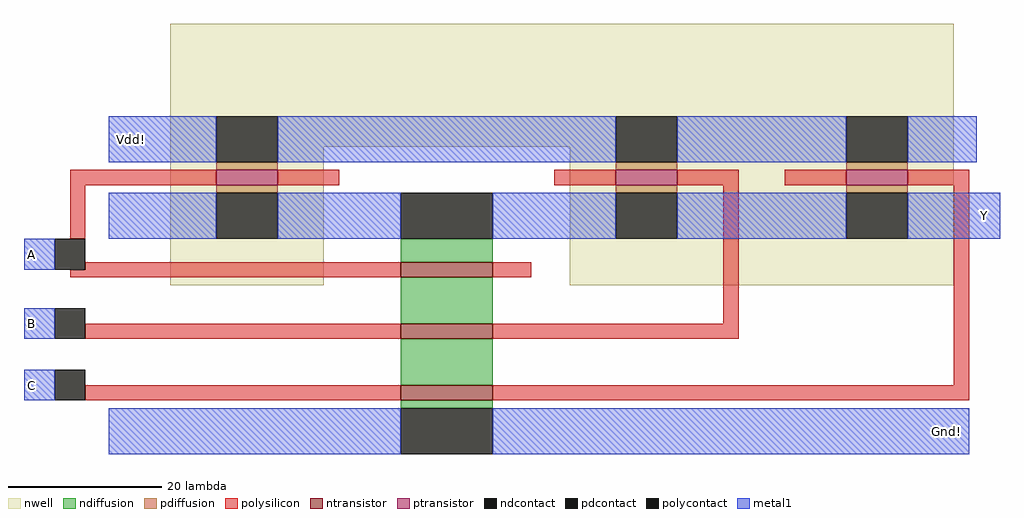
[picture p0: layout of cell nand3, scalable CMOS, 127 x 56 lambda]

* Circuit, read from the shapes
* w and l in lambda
.subckt nand3 A B C Gnd! Vdd! Y
M1 n1 C Gnd! VSUBS nfet w=12 l=2
M2 n2 B n1 VSUBS nfet w=12 l=2
M3 Y A n2 VSUBS nfet w=12 l=2
M4 Vdd! A Y n3 pfet w=8 l=2
M5 Vdd! B Y n3 pfet w=8 l=2
M6 Vdd! C Y n3 pfet w=8 l=2
.ends

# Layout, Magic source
magic
tech scmos
<< nwell >>
rect -62 18 40 34
rect -62 0 -42 18
rect -10 0 40 18
<< ntransistor >>
rect -32 1 -20 3
rect -32 -7 -20 -5
rect -32 -15 -20 -13
<< ptransistor >>
rect -56 13 -48 15
rect -4 13 4 15
rect 26 13 34 15
<< ndiffusion >>
rect -32 3 -20 6
rect -32 -5 -20 1
rect -32 -13 -20 -7
rect -32 -16 -20 -15
<< pdiffusion >>
rect -56 15 -48 16
rect -4 15 4 16
rect 26 15 34 16
rect -56 12 -48 13
rect -4 12 4 13
rect 26 12 34 13
<< ndcontact >>
rect -32 6 -20 12
rect -32 -22 -20 -16
<< pdcontact >>
rect -56 16 -48 22
rect -4 16 4 22
rect 26 16 34 22
rect -56 6 -48 12
rect -4 6 4 12
rect 26 6 34 12
<< polysilicon >>
rect -75 13 -56 15
rect -48 13 -40 15
rect -12 13 -4 15
rect 4 13 12 15
rect 18 13 26 15
rect 34 13 42 15
rect -75 6 -73 13
rect -73 2 -32 3
rect -75 1 -32 2
rect -20 1 -15 3
rect 10 -5 12 13
rect -73 -7 -32 -5
rect -20 -7 12 -5
rect 40 -13 42 13
rect -73 -15 -32 -13
rect -20 -15 42 -13
<< polycontact >>
rect -77 2 -73 6
rect -77 -7 -73 -3
rect -77 -15 -73 -11
<< metal1 >>
rect -70 16 -56 22
rect -48 16 -4 22
rect 4 16 26 22
rect 34 16 43 22
rect -70 6 -56 12
rect -48 6 -32 12
rect -20 6 -4 12
rect 4 6 26 12
rect 34 6 46 12
rect -81 2 -77 6
rect -81 -7 -77 -3
rect -81 -15 -77 -11
rect -70 -22 -32 -16
rect -20 -22 42 -16
<< labels >>
rlabel metal1 -67 19 -67 19 4 Vdd!
rlabel metal1 -80 4 -80 4 3 A
rlabel metal1 -80 -5 -80 -5 3 B
rlabel metal1 -80 -13 -80 -13 3 C
rlabel metal1 39 -19 39 -19 8 Gnd!
rlabel metal1 44 9 44 9 7 Y
<< end >>
